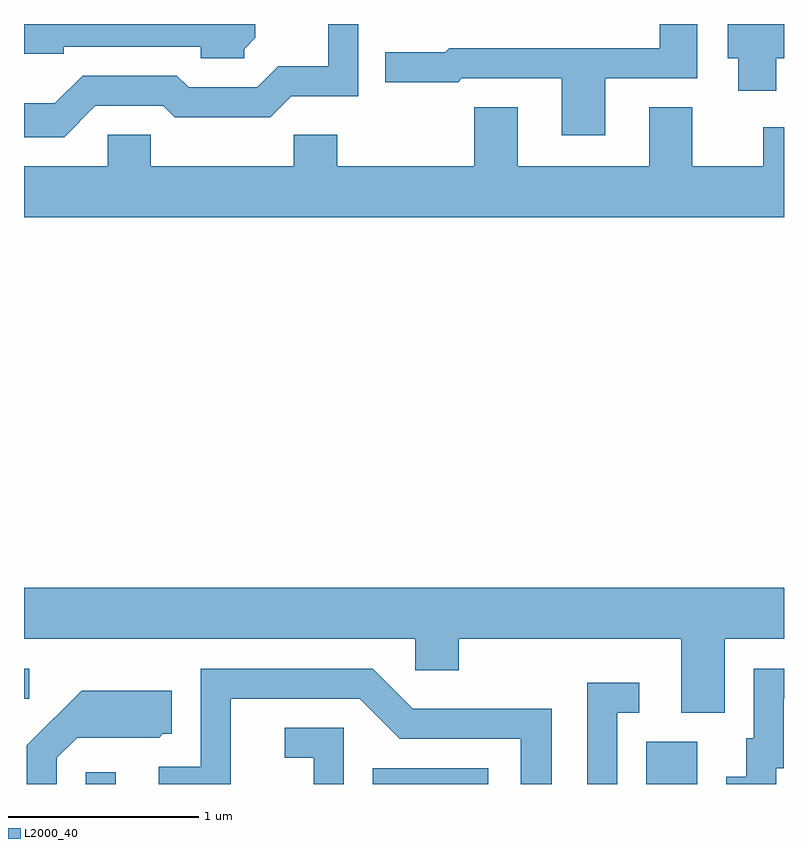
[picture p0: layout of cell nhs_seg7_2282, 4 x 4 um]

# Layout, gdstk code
import gdstk
lib = gdstk.Library(unit=1e-6, precision=1e-09)
def R(c, l, rs):  # rectangles x0, y0, x1, y1
    for r in rs: c.add(gdstk.rectangle(r[:2], r[2:], *l))
def P(c, l, *ps):  # polygons
    for p in ps: c.add(gdstk.Polygon(p, *l))
L2000_40 = (2000, 40)

nhs_seg7_2282 = lib.new_cell('nhs_seg7_2282')
R(nhs_seg7_2282, L2000_40, [(255.936,1680.252,256.094,1680.313), (257.446,1680.252,258.054,1680.334), (258.886,1680.252,259.154,1680.474), (255.611,1680.701,255.638,1680.859)])
P(nhs_seg7_2282, L2000_40, [(255.987,1683.821),(256.344,1683.821),(256.404,1683.761),(256.907,1683.761),(257.017,1683.871),(257.369,1683.871),(257.369,1684.252),(257.211,1684.252),(257.211,1684.029),(256.949,1684.029),(256.839,1683.919),(256.477,1683.919),(256.416,1683.979),(255.919,1683.979),(255.774,1683.834),(255.611,1683.834),(255.611,1683.656),(255.822,1683.656)],
  [(256.769,1684.119),(256.829,1684.179),(256.829,1684.252),(255.611,1684.252),(255.611,1684.096),(255.819,1684.096),(255.819,1684.131),(256.541,1684.131),(256.541,1684.071),(256.769,1684.071)],
  [(259.569,1684.071),(259.611,1684.071),(259.611,1684.252),(259.316,1684.252),(259.316,1684.071),(259.371,1684.071),(259.371,1683.901),(259.569,1683.901)],
  [(258.669,1683.966),(259.154,1683.966),(259.154,1684.252),(258.956,1684.252),(258.956,1684.124),(257.849,1684.124),(257.829,1684.104),(257.513,1684.104),(257.513,1683.946),(257.897,1683.946),(257.916,1683.966),(258.441,1683.966),(258.441,1683.666),(258.669,1683.666)],
  [(259.611,1683.709),(259.501,1683.709),(259.501,1683.504),(259.129,1683.504),(259.129,1683.814),(258.901,1683.814),(258.901,1683.504),(258.209,1683.504),(258.209,1683.814),(257.981,1683.814),(257.981,1683.504),(257.259,1683.504),(257.259,1683.669),(257.031,1683.669),(257.031,1683.504),(256.279,1683.504),(256.279,1683.669),(256.051,1683.669),(256.051,1683.504),(255.611,1683.504),(255.611,1683.236),(259.611,1683.236)],
  [(259.299,1681.016),(259.611,1681.016),(259.611,1681.284),(255.611,1681.284),(255.611,1681.016),(257.671,1681.016),(257.671,1680.851),(257.899,1680.851),(257.899,1681.016),(259.071,1681.016),(259.071,1680.626),(259.299,1680.626)],
  [(256.699,1680.701),(257.379,1680.701),(257.589,1680.491),(258.226,1680.491),(258.226,1680.252),(258.389,1680.252),(258.389,1680.649),(257.657,1680.649),(257.447,1680.859),(256.541,1680.859),(256.541,1680.344),(256.321,1680.344),(256.321,1680.252),(256.699,1680.252)],
  [(259.569,1680.336),(259.609,1680.336),(259.609,1680.701),(259.611,1680.701),(259.611,1680.859),(259.451,1680.859),(259.451,1680.494),(259.411,1680.494),(259.411,1680.289),(259.306,1680.289),(259.306,1680.252),(259.569,1680.252)],
  [(258.734,1680.626),(258.848,1680.626),(258.848,1680.784),(258.576,1680.784),(258.576,1680.252),(258.734,1680.252)],
  [(255.784,1680.389),(255.892,1680.496),(256.322,1680.496),(256.342,1680.516),(256.389,1680.516),(256.389,1680.744),(255.914,1680.744),(255.626,1680.457),(255.626,1680.252),(255.784,1680.252)],
  [(257.294,1680.549),(256.983,1680.549),(256.983,1680.391),(257.136,1680.391),(257.136,1680.252),(257.294,1680.252)])

lib.write_gds('nhs_seg7_2282.gds')
